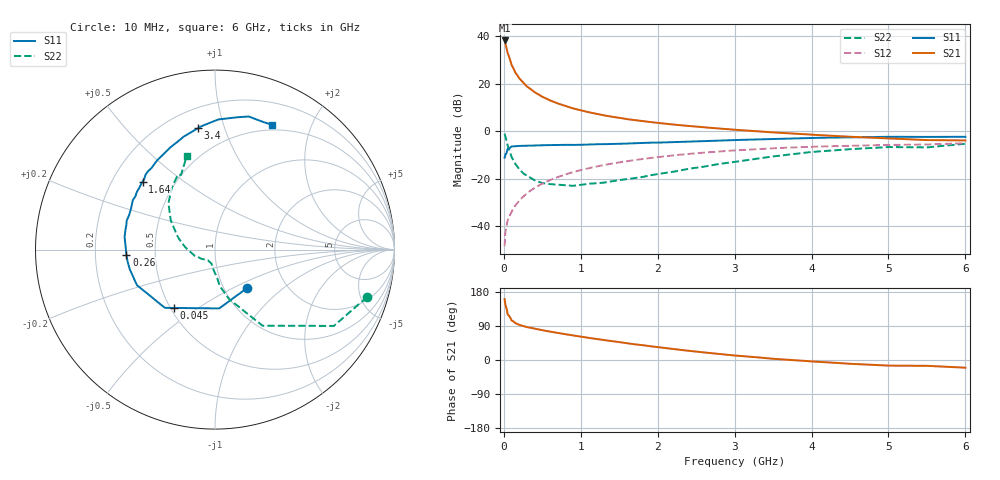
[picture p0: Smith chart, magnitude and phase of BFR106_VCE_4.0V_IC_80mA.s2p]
! Infineon Technologies  Discrete & RF Semiconductors
! BFR106
! VCE =  4.0 V,  IC =  80 mA
! Common Emitter S-Parameters:  Nov 2015
# GHz  S  MA  R  50
!  f  S11  S21  S12  S22
! GHz  MAG  ANG  MAG  ANG  MAG  ANG  MAG  ANG
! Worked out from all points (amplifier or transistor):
!   210 points, 10 MHz to 6 GHz, reference 50 ohm
!   highest |S21| = 38.2 dB at 10 MHz (marker M1)
!   |S21| within 3 dB of that: start of sweep to 33.71 MHz
!   unconditionally stable (mu >= 1): 194.8 MHz to 2.434 GHz
!   at 185 MHz: K = 0.99, MSG = 26.5 dB, |S12| = -29.8 dB
!   at 1.52 GHz: K = 1.05, MAG = 7.9 dB, |S12| = -13.0 dB
!   at 6 GHz: K = 0.99, MSG = 0.6 dB, |S12| = -5.0 dB
!   S11 on the Smith chart (normalised r, x): 10 MHz: 1.27, -0.60; 45 MHz: 0.52, -0.40; 260 MHz: 0.34, -0.02; 1.64 GHz: 0.33, +0.36; 3.4 GHz: 0.32, +0.81; 6 GHz: 0.44, +1.46
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0.01  0.2788 -50.9  81.69 160.8  0.0038 79.5  0.887 -17.4
0.02  0.3285 -85.9  71.63 145.8  0.0074 72.3  0.7871 -32.7
0.045  0.3974 -125.1  48 126.5  0.0123 61.9  0.538 -52.0
0.05  0.428 -130.7  44.33 120.4  0.0133 60.8  0.4998 -58.0
0.1  0.4779 -155.5  25.16 104.6  0.0202 65.3  0.2868 -74.1
0.15  0.487 -166.5  17.17 97.1  0.0273 68.0  0.204 -82.6
0.2  0.4913 -171.8  13.07 92.8  0.0344 70.5  0.1591 -85.5
0.26  0.4945 -176.8  10.14 88.9  0.0431 72.3  0.1268 -90.9
0.3  0.4955 -179.0  8.769 86.8  0.0492 73.0  0.1156 -93.6
0.4  0.5014 175.8  6.642 82.6  0.0639 73.2  0.0929 -99.3
0.5  0.5088 172.0  5.326 78.6  0.0786 73.1  0.0809 -103.8
0.6  0.5108 168.2  4.465 74.8  0.0935 72.5  0.0771 -107.9
0.7  0.5126 164.4  3.856 71.2  0.1082 71.6  0.0755 -113.3
1.02  0.5203 154.2  2.709 61.1  0.1546 67.4  0.0751 -127.0
1.3  0.534 146.1  2.162 52.6  0.1943 63.2  0.0828 -139.6
1.64  0.5534 136.8  1.765 43.1  0.2395 58.1  0.1 -154.0
2.02  0.5772 127.4  1.488 33.5  0.2878 52.1  0.1272 -168.9
3.1  0.6594 103.6  1.049 10.3  0.4033 35.0  0.2391 156.1
3.4  0.6822 98.1  0.971 5.1  0.4303 30.6  0.2804 148.6
4.1  0.7283 87.1  0.828 -4.9  0.4769 20.1  0.3759 132.9
5.1  0.7633 74.6  0.695 -14.9  0.5175 7.7  0.4635 116.1
6  0.7643 65.6  0.641 -20.3  0.5601 -1.8  0.5451 106.8
